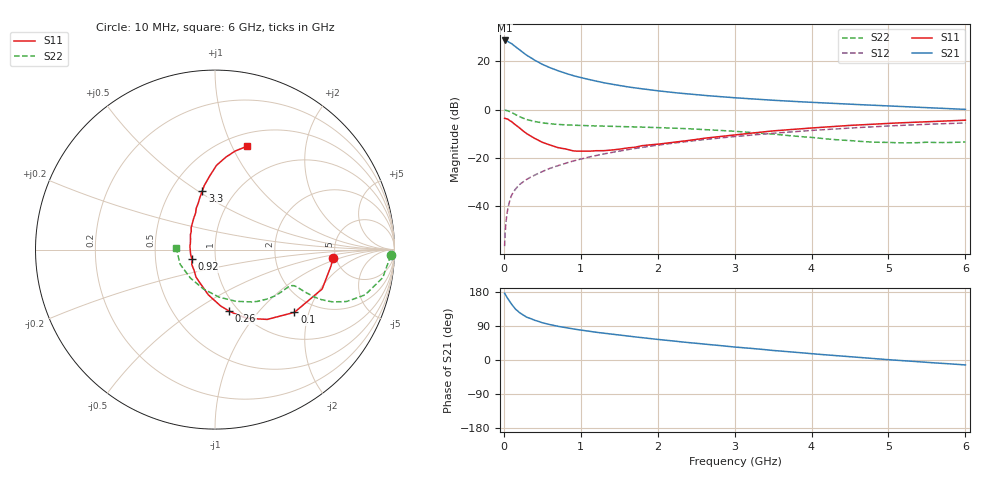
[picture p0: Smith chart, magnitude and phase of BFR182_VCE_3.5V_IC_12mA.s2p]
! Infineon Technologies  Discrete & RF Semiconductors
! BFR182
! VCE =  3.5 V,  IC =  12 mA
! Common Emitter S-Parameters:  Nov 2015
# GHz  S  MA  R  50
!  f  S11  S21  S12  S22
! GHz  MAG  ANG  MAG  ANG  MAG  ANG  MAG  ANG
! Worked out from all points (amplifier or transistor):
!   210 points, 10 MHz to 6 GHz, reference 50 ohm
!   highest |S21| = 28.6 dB at 10 MHz (marker M1)
!   |S21| within 3 dB of that: start of sweep to 169 MHz
!   unconditionally stable (mu >= 1): 712.2 MHz to 2.609 GHz
!   at 185 MHz: K = 0.55, MSG = 28.4 dB, |S12| = -31.6 dB
!   at 1.52 GHz: K = 1.05, MAG = 12.1 dB, |S12| = -17.1 dB
!   at 6 GHz: K = 0.89, MSG = 2.8 dB, |S12| = -5.6 dB
!   S11 on the Smith chart (normalised r, x): 10 MHz: 4.72, -0.82; 100 MHz: 1.58, -1.61; 260 MHz: 0.91, -0.71; 920 MHz: 0.77, -0.08; 3.3 GHz: 0.71, +0.52; 6 GHz: 0.63, +1.14
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0.01  0.6591 -4.3  26.79 176.1  0.0015 88.2  0.9785 -1.9
0.02  0.6526 -8.1  26.61 172.4  0.0033 84.5  0.9697 -3.9
0.05  0.636 -20.2  25.7 162.3  0.0086 80.9  0.9473 -9.5
0.1  0.5639 -38.3  23.11 147.2  0.0168 75.1  0.8736 -16.8
0.15  0.4858 -53.2  20.05 134.5  0.0225 70.5  0.7867 -21.6
0.2  0.4223 -65.1  17.35 125.6  0.0279 68.9  0.7189 -23.9
0.24  0.3724 -73.1  15.47 119.9  0.0312 67.6  0.6738 -24.8
0.26  0.3515 -77.0  14.65 117.2  0.0328 67.5  0.654 -25.2
0.3  0.3156 -84.3  13.18 112.7  0.0362 68.1  0.6195 -25.5
0.4  0.2543 -98.5  10.49 104.9  0.0441 68.4  0.565 -25.3
0.5  0.2107 -111.5  8.605 98.3  0.0521 69.1  0.5305 -24.9
0.6  0.1859 -124.7  7.327 93.3  0.0609 69.7  0.5077 -24.5
0.7  0.164 -135.3  6.375 89.0  0.0688 70.0  0.4924 -24.5
0.92  0.1392 -158.3  4.935 81.4  0.0879 69.6  0.4737 -25.1
1.02  0.138 -171.1  4.498 78.5  0.0965 69.6  0.4674 -25.7
1.4  0.1455 159.4  3.345 68.2  0.1295 68.4  0.4498 -29.2
2.02  0.1937 130.7  2.422 53.9  0.1854 63.8  0.4233 -37.3
3.1  0.3106 105.0  1.711 32.6  0.2856 53.7  0.3456 -57.3
3.3  0.3359 102.1  1.63 29.1  0.3043 51.6  0.3271 -62.3
4.1  0.4263 92.6  1.384 15.0  0.3789 42.7  0.2558 -88.8
5.1  0.5267 82.3  1.172 -0.5  0.4658 30.4  0.2062 -136.1
6  0.6023 72.9  1.008 -13.0  0.5272 18.0  0.2149 178.3
